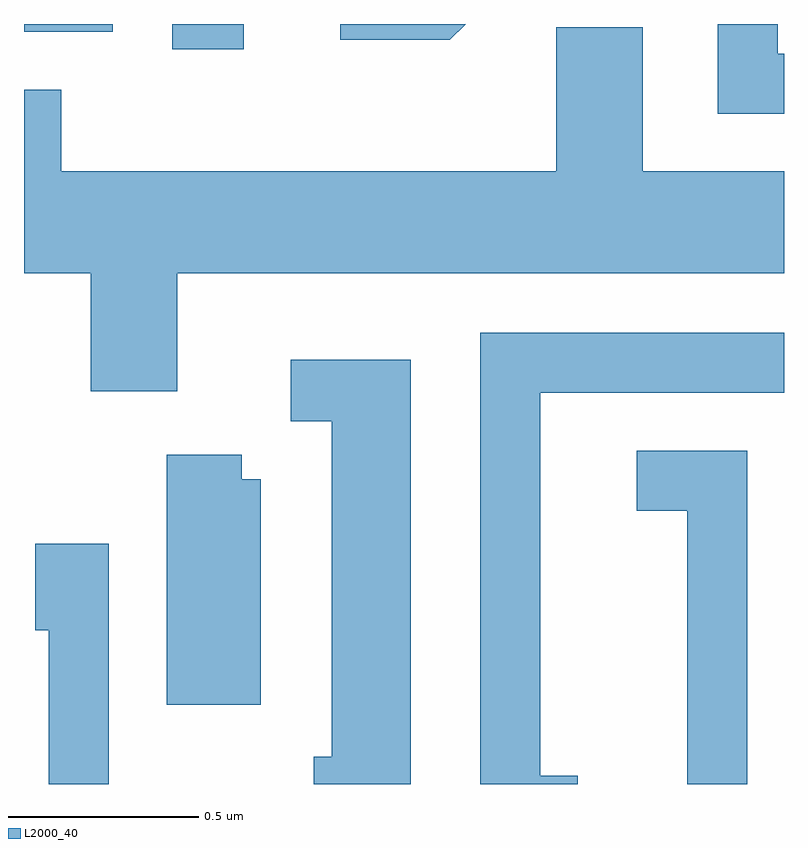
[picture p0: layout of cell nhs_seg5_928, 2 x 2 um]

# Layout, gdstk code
import gdstk
lib = gdstk.Library(unit=1e-6, precision=1e-09)
def R(c, l, rs):  # rectangles x0, y0, x1, y1
    for r in rs: c.add(gdstk.rectangle(r[:2], r[2:], *l))
def P(c, l, *ps):  # polygons
    for p in ps: c.add(gdstk.Polygon(p, *l))
L2000_40 = (2000, 40)

nhs_seg5_928 = lib.new_cell('nhs_seg5_928')
R(nhs_seg5_928, L2000_40, [(192.001,1504.006,192.189,1504.072), (191.611,1504.051,191.844,1504.072)])
P(nhs_seg5_928, L2000_40, [(193.611,1503.994),(193.594,1503.994),(193.594,1504.072),(193.436,1504.072),(193.436,1503.836),(193.611,1503.836)],
  [(192.773,1504.072),(192.443,1504.072),(192.443,1504.031),(192.732,1504.031)],
  [(192.014,1503.416),(193.611,1503.416),(193.611,1503.684),(193.239,1503.684),(193.239,1504.064),(193.011,1504.064),(193.011,1503.684),(191.709,1503.684),(191.709,1503.899),(191.611,1503.899),(191.611,1503.416),(191.786,1503.416),(191.786,1503.106),(192.014,1503.106)],
  [(193.068,1502.094),(192.969,1502.094),(192.969,1503.101),(193.611,1503.101),(193.611,1503.259),(192.811,1503.259),(192.811,1502.072),(193.068,1502.072)],
  [(192.629,1503.189),(192.313,1503.189),(192.313,1503.026),(192.421,1503.026),(192.421,1502.144),(192.373,1502.144),(192.373,1502.072),(192.629,1502.072)],
  [(193.514,1502.949),(193.223,1502.949),(193.223,1502.791),(193.356,1502.791),(193.356,1502.072),(193.514,1502.072)],
  [(192.234,1502.874),(192.184,1502.874),(192.184,1502.939),(191.986,1502.939),(191.986,1502.281),(192.234,1502.281)],
  [(191.834,1502.704),(191.641,1502.704),(191.641,1502.476),(191.676,1502.476),(191.676,1502.072),(191.834,1502.072)])

lib.write_gds('nhs_seg5_928.gds')
